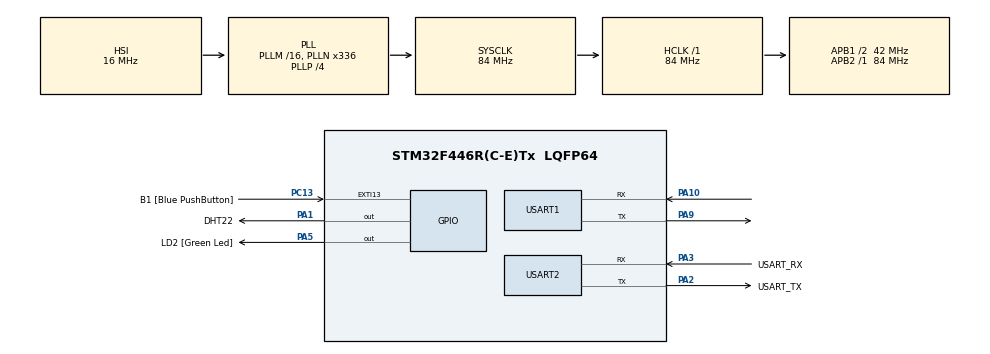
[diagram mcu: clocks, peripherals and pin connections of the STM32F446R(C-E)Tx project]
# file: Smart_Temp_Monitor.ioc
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Mcu.Family=STM32F4
Mcu.Name=STM32F446R(C-E)Tx
Mcu.Package=LQFP64
NVIC.PriorityGroup=NVIC_PRIORITYGROUP_0
PA1.GPIO_Label=DHT22
PA1.GPIO_ModeDefaultOutputPP=GPIO_MODE_OUTPUT_OD
PA1.GPIO_PuPd=GPIO_NOPULL
PA1.GPIO_Speed=GPIO_SPEED_FREQ_VERY_HIGH
PA1.Signal=GPIO_Output
PA10.Mode=Asynchronous
PA10.Signal=USART1_RX
PA13.GPIO_Label=TMS
PA13.Mode=Serial_Wire
PA13.Signal=SYS_JTMS-SWDIO
PA14.GPIO_Label=TCK
PA14.Mode=Serial_Wire
PA14.Signal=SYS_JTCK-SWCLK
PA2.GPIO_Label=USART_TX
PA2.Mode=Asynchronous
PA2.Signal=USART2_TX
PA3.GPIO_Label=USART_RX
PA3.Mode=Asynchronous
PA3.Signal=USART2_RX
PA5.GPIO_Label=LD2 [Green Led]
PA5.Signal=GPIO_Output
PA9.Mode=Asynchronous
PA9.Signal=USART1_TX
PB3.GPIO_Label=SWO
PB3.Signal=SYS_JTDO-SWO
PC13.GPIO_Label=B1 [Blue PushButton]
PC13.GPIO_ModeDefaultEXTI=GPIO_MODE_IT_FALLING
PC13.Signal=GPXTI13
PC14-OSC32_IN.Mode=LSE-External-Oscillator
PC14-OSC32_IN.Signal=RCC_OSC32_IN
PC15-OSC32_OUT.Mode=LSE-External-Oscillator
PC15-OSC32_OUT.Signal=RCC_OSC32_OUT
PH0-OSC_IN.Mode=HSE-External-Oscillator
PH0-OSC_IN.Signal=RCC_OSC_IN
PH1-OSC_OUT.Mode=HSE-External-Oscillator
PH1-OSC_OUT.Signal=RCC_OSC_OUT
ProjectManager.HeapSize=0x200
ProjectManager.StackSize=0x400
ProjectManager.TargetToolchain=STM32CubeIDE
RCC.48MHZClocksFreq_Value=84000000
RCC.AHBFreq_Value=84000000
RCC.APB1CLKDivider=RCC_HCLK_DIV2
RCC.APB1Freq_Value=42000000
RCC.APB1TimFreq_Value=84000000
RCC.APB2Freq_Value=84000000
RCC.APB2TimFreq_Value=84000000
RCC.CortexFreq_Value=84000000
RCC.FLatency-AdvancedSettings=FLASH_LATENCY_2
RCC.HCLKFreq_Value=84000000
RCC.HSE_VALUE=8000000
RCC.HSI_VALUE=16000000
RCC.PLLN=336
RCC.PLLP=RCC_PLLP_DIV4
RCC.SYSCLKFreq_VALUE=84000000
RCC.SYSCLKSource=RCC_SYSCLKSOURCE_PLLCLK
RCC.USBFreq_Value=168000000
RCC.VCOOutputFreq_Value=336000000
TIM6.Period=65535
TIM6.Prescaler=83
USART1.VirtualMode=VM_ASYNC
USART2.VirtualMode=VM_ASYNC
VP_TIM6_VS_ClockSourceINT.Mode=Enable_Timer
board=NUCLEO-F446RE

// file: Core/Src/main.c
/* USER CODE BEGIN Header */
/**
  ******************************************************************************
  * @file           : main.c
  * @brief          : Main program body
  ******************************************************************************
  * @attention
  *
  * Copyright (c) 2026 STMicroelectronics.
  * All rights reserved.
  *
  * This software is licensed under terms that can be found in the LICENSE file
  * in the root directory of this software component.
  * If no LICENSE file comes with this software, it is provided AS-IS.
  *
  ******************************************************************************
  */
/* USER CODE END Header */
#include "main.h"
#include <stdio.h>
#include <string.h>

TIM_HandleTypeDef htim6;

UART_HandleTypeDef huart1;
UART_HandleTypeDef huart2;

void SystemClock_Config(void);
static void MX_GPIO_Init(void);
static void MX_USART2_UART_Init(void);
static void MX_TIM6_Init(void);
static void MX_USART1_UART_Init(void);
/* USER CODE BEGIN PFP */
static void delay_us(uint16_t us);
static uint8_t wait_level(uint8_t level, uint16_t timeout_us);
uint8_t DHT22_Read(float *temp, float *hum);
/* USER CODE END PFP */

/* USER CODE BEGIN 0 */
static void delay_us(uint16_t us)
{
    __HAL_TIM_SET_COUNTER(&htim6, 0);
    while (__HAL_TIM_GET_COUNTER(&htim6) < us);
}

/* Wait until the pin reaches 'level'. Returns 0 on timeout. */
static uint8_t wait_level(uint8_t level, uint16_t timeout_us)
{
    __HAL_TIM_SET_COUNTER(&htim6, 0);
    while (HAL_GPIO_ReadPin(DHT22_GPIO_Port, DHT22_Pin) != level)
    {
        if (__HAL_TIM_GET_COUNTER(&htim6) > timeout_us) return 0;
    }
    return 1;
}

/* Returns 0 = OK, 1-5 = error stage, 6 = checksum error */
uint8_t DHT22_Read(float *temp, float *hum)
{
    uint8_t d[5] = {0};

    /* 1. Start signal: pull low for 2 ms, then release */
    HAL_GPIO_WritePin(DHT22_GPIO_Port, DHT22_Pin, GPIO_PIN_RESET);
    HAL_Delay(2);
    __disable_irq();                       /* timing is critical from here */
    HAL_GPIO_WritePin(DHT22_GPIO_Port, DHT22_Pin, GPIO_PIN_SET);
    delay_us(30);

    /* 2. Sensor response: 80 us low, 80 us high */
    if (!wait_level(0, 100)) { __enable_irq(); return 1; }
    if (!wait_level(1, 100)) { __enable_irq(); return 2; }
    if (!wait_level(0, 100)) { __enable_irq(); return 3; }

    /* 3. Read 40 bits */
    for (int i = 0; i < 40; i++)
    {
        if (!wait_level(1, 100)) { __enable_irq(); return 4; }  /* 50 us low ends */
        delay_us(40);                                            /* sample point   */
        if (HAL_GPIO_ReadPin(DHT22_GPIO_Port, DHT22_Pin))
            d[i / 8] |= (1 << (7 - (i % 8)));                    /* still high = 1 */
        if (!wait_level(0, 100)) { __enable_irq(); return 5; }
    }
    __enable_irq();

    /* 4. Checksum: byte 4 = sum of bytes 0..3 */
    if ((uint8_t)(d[0] + d[1] + d[2] + d[3]) != d[4]) return 6;

    /* 5. Convert */
    *hum = ((d[0] << 8) | d[1]) / 10.0f;
    int16_t t = ((d[2] & 0x7F) << 8) | d[3];
    *temp = t / 10.0f;
    if (d[2] & 0x80) *temp = -*temp;        /* bit 15 = sign */
    return 0;
}
/* USER CODE END 0 */

int main(void)
{

  /* MCU Configuration--------------------------------------------------------*/

  /* Reset of all peripherals, Initializes the Flash interface and the Systick. */
  HAL_Init();

  /* Configure the system clock */
  SystemClock_Config();

  /* Initialize all configured peripherals */
  MX_GPIO_Init();
  MX_USART2_UART_Init();
  MX_TIM6_Init();
  MX_USART1_UART_Init();
  /* USER CODE BEGIN 2 */
  HAL_TIM_Base_Start(&htim6);
  HAL_Delay(1500);   /* DHT22 needs about 1 s to stabilise after power-up */
  /* USER CODE END 2 */

  /* Infinite loop */
  while (1)
  {
	  float t, h;
	  char buf[80];
	  uint8_t st = DHT22_Read(&t, &h);

	  if (st == 0)
	      snprintf(buf, sizeof(buf), "{\"temp\":%.1f,\"hum\":%.1f}\r\n", t, h);
	  else
	      snprintf(buf, sizeof(buf), "{\"error\":%d}\r\n", st);

	  HAL_UART_Transmit(&huart2, (uint8_t*)buf, strlen(buf), 100);
	  HAL_UART_Transmit(&huart1, (uint8_t*)buf, strlen(buf), 100);

	  HAL_Delay(2000);
  }
}

void SystemClock_Config(void)
{
  RCC_OscInitTypeDef RCC_OscInitStruct = {0};
  RCC_ClkInitTypeDef RCC_ClkInitStruct = {0};

  /** Configure the main internal regulator output voltage
  */
  __HAL_RCC_PWR_CLK_ENABLE();
  __HAL_PWR_VOLTAGESCALING_CONFIG(PWR_REGULATOR_VOLTAGE_SCALE3);

  /** Initializes the RCC Oscillators according to the specified parameters
  * in the RCC_OscInitTypeDef structure.
  */
  RCC_OscInitStruct.OscillatorType = RCC_OSCILLATORTYPE_HSI;
  RCC_OscInitStruct.HSIState = RCC_HSI_ON;
  RCC_OscInitStruct.HSICalibrationValue = RCC_HSICALIBRATION_DEFAULT;
  RCC_OscInitStruct.PLL.PLLState = RCC_PLL_ON;
  RCC_OscInitStruct.PLL.PLLSource = RCC_PLLSOURCE_HSI;
  RCC_OscInitStruct.PLL.PLLM = 16;
  RCC_OscInitStruct.PLL.PLLN = 336;
  RCC_OscInitStruct.PLL.PLLP = RCC_PLLP_DIV4;
  RCC_OscInitStruct.PLL.PLLQ = 2;
  RCC_OscInitStruct.PLL.PLLR = 2;
  if (HAL_RCC_OscConfig(&RCC_OscInitStruct) != HAL_OK)
  {
    Error_Handler();
  }

  /** Initializes the CPU, AHB and APB buses clocks
  */
  RCC_ClkInitStruct.ClockType = RCC_CLOCKTYPE_HCLK|RCC_CLOCKTYPE_SYSCLK
                              |RCC_CLOCKTYPE_PCLK1|RCC_CLOCKTYPE_PCLK2;
  RCC_ClkInitStruct.SYSCLKSource = RCC_SYSCLKSOURCE_PLLCLK;
  RCC_ClkInitStruct.AHBCLKDivider = RCC_SYSCLK_DIV1;
  RCC_ClkInitStruct.APB1CLKDivider = RCC_HCLK_DIV2;
  RCC_ClkInitStruct.APB2CLKDivider = RCC_HCLK_DIV1;

  if (HAL_RCC_ClockConfig(&RCC_ClkInitStruct, FLASH_LATENCY_2) != HAL_OK)
  {
    Error_Handler();
  }
}

static void MX_TIM6_Init(void)
{

  TIM_MasterConfigTypeDef sMasterConfig = {0};

  htim6.Instance = TIM6;
  htim6.Init.Prescaler = 83;
  htim6.Init.CounterMode = TIM_COUNTERMODE_UP;
  htim6.Init.Period = 65535;
  htim6.Init.AutoReloadPreload = TIM_AUTORELOAD_PRELOAD_DISABLE;
  if (HAL_TIM_Base_Init(&htim6) != HAL_OK)
  {
    Error_Handler();
  }
  sMasterConfig.MasterOutputTrigger = TIM_TRGO_RESET;
  sMasterConfig.MasterSlaveMode = TIM_MASTERSLAVEMODE_DISABLE;
  if (HAL_TIMEx_MasterConfigSynchronization(&htim6, &sMasterConfig) != HAL_OK)
  {
    Error_Handler();
  }

}

static void MX_USART1_UART_Init(void)
{

  huart1.Instance = USART1;
  huart1.Init.BaudRate = 115200;
  huart1.Init.WordLength = UART_WORDLENGTH_8B;
  huart1.Init.StopBits = UART_STOPBITS_1;
  huart1.Init.Parity = UART_PARITY_NONE;
  huart1.Init.Mode = UART_MODE_TX_RX;
  huart1.Init.HwFlowCtl = UART_HWCONTROL_NONE;
  huart1.Init.OverSampling = UART_OVERSAMPLING_16;
  if (HAL_UART_Init(&huart1) != HAL_OK)
  {
    Error_Handler();
  }

}

static void MX_USART2_UART_Init(void)
{

  huart2.Instance = USART2;
  huart2.Init.BaudRate = 115200;
  huart2.Init.WordLength = UART_WORDLENGTH_8B;
  huart2.Init.StopBits = UART_STOPBITS_1;
  huart2.Init.Parity = UART_PARITY_NONE;
  huart2.Init.Mode = UART_MODE_TX_RX;
  huart2.Init.HwFlowCtl = UART_HWCONTROL_NONE;
  huart2.Init.OverSampling = UART_OVERSAMPLING_16;
  if (HAL_UART_Init(&huart2) != HAL_OK)
  {
    Error_Handler();
  }

}

static void MX_GPIO_Init(void)
{
  GPIO_InitTypeDef GPIO_InitStruct = {0};

  /* GPIO Ports Clock Enable */
  __HAL_RCC_GPIOC_CLK_ENABLE();
  __HAL_RCC_GPIOH_CLK_ENABLE();
  __HAL_RCC_GPIOA_CLK_ENABLE();
  __HAL_RCC_GPIOB_CLK_ENABLE();

  /*Configure GPIO pin Output Level */
  HAL_GPIO_WritePin(GPIOA, DHT22_Pin|LD2_Pin, GPIO_PIN_RESET);

  /*Configure GPIO pin : B1_Pin */
  GPIO_InitStruct.Pin = B1_Pin;
  GPIO_InitStruct.Mode = GPIO_MODE_IT_FALLING;
  GPIO_InitStruct.Pull = GPIO_NOPULL;
  HAL_GPIO_Init(B1_GPIO_Port, &GPIO_InitStruct);

  /*Configure GPIO pin : DHT22_Pin */
  GPIO_InitStruct.Pin = DHT22_Pin;
  GPIO_InitStruct.Mode = GPIO_MODE_OUTPUT_OD;
  GPIO_InitStruct.Pull = GPIO_NOPULL;
  GPIO_InitStruct.Speed = GPIO_SPEED_FREQ_VERY_HIGH;
  HAL_GPIO_Init(DHT22_GPIO_Port, &GPIO_InitStruct);

  /*Configure GPIO pin : LD2_Pin */
  GPIO_InitStruct.Pin = LD2_Pin;
  GPIO_InitStruct.Mode = GPIO_MODE_OUTPUT_PP;
  GPIO_InitStruct.Pull = GPIO_NOPULL;
  GPIO_InitStruct.Speed = GPIO_SPEED_FREQ_LOW;
  HAL_GPIO_Init(LD2_GPIO_Port, &GPIO_InitStruct);

}

void Error_Handler(void)
{
  __disable_irq();
  while (1)
  {
  }
}
